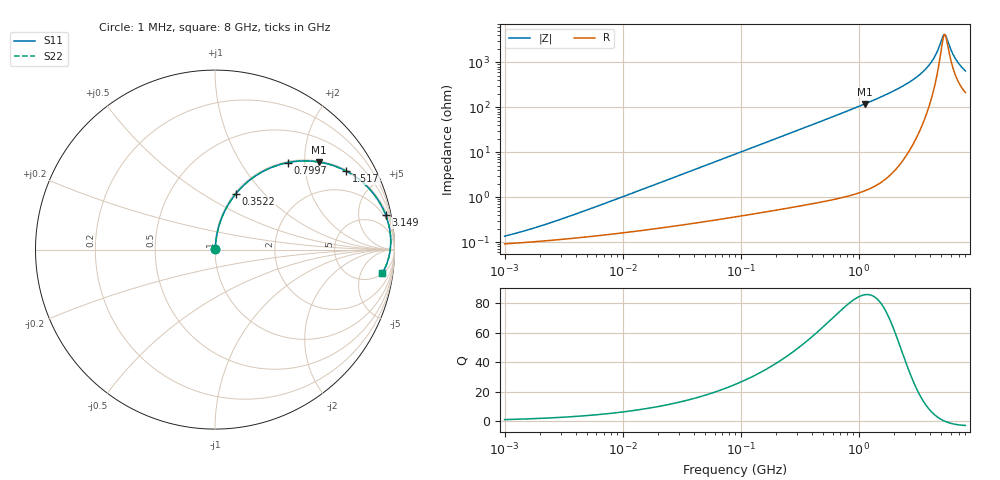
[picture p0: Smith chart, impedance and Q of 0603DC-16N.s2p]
# MHz  S  MA  R  50
!Freq  MagS11  AngS11  MagS21  AngS21  MagS12  AngS12  MagS22  AngS22
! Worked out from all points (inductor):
!   801 points, 1 MHz to 8 GHz, reference 50 ohm
!   read as one part in series: L = 16 nH near 3.599 MHz
!   highest Q = 85.6 at 1.12 GHz (marker M1), where L = 16.7 nH
!   self-resonance near 5.36 GHz
!   S11 on the Smith chart (normalised r, x): 1 MHz: 1.00, +0.00; 352.2 MHz: 1.01, +0.71; 799.7 MHz: 1.02, +1.65; 1.517 GHz: 1.04, +3.32; 3.149 GHz: 1.47, +9.70; 8 GHz: 5, -12
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1  0.001355 47.8  0.9991 -0.1  0.9991 -0.1  0.001355 47.8
4.505755  0.004698 74.1  0.9987 -0.3  0.9987 -0.3  0.004698 74.1
20.07503  0.02024 83.1  0.9978 -1.2  0.9978 -1.2  0.02024 83.1
90.45318  0.09033 82.5  0.9923 -5.2  0.9923 -5.2  0.09033 82.5
200.8275  0.1973 77.2  0.9754 -11.4  0.9754 -11.4  0.1973 77.2
352.1812  0.3331 69.5  0.9367 -19.5  0.9367 -19.5  0.3331 69.5
403.007  0.3751 67.0  0.9205 -22.0  0.9205 -22.0  0.3751 67.0
799.6928  0.6314 50.1  0.7675 -39.1  0.7675 -39.1  0.6314 50.1
1120.183  0.7581 40.0  0.6433 -49.3  0.6433 -49.3  0.7581 40.0
1517.114  0.8519 30.9  0.5132 -58.4  0.5132 -58.4  0.8519 30.9
1795.566  0.8927 26.0  0.4382 -63.2  0.4382 -63.2  0.8927 26.0
2459.288  0.9463 17.5  0.3012 -71.1  0.3012 -71.1  0.9463 17.5
3148.795  0.9702 11.5  0.1998 -75.7  0.1998 -75.7  0.9702 11.5
3685.093  0.9781 7.9  0.1387 -77.0  0.1387 -77.0  0.9781 7.9
4169.807  0.9806 5.2  0.09268 -75.3  0.09268 -75.3  0.9806 5.2
4561.912  0.9806 3.3  0.06085 -69.7  0.06085 -69.7  0.9806 3.3
5104.292  0.9782 1.0  0.02784 -37.8  0.02784 -37.8  0.9782 1.0
5279.248  0.9769 0.3  0.02366 -12.8  0.02366 -12.8  0.9769 0.3
5521.887  0.9749 -0.6  0.02717 22.5  0.02717 22.5  0.9749 -0.6
6178.402  0.9681 -2.9  0.05884 55.7  0.05884 55.7  0.9681 -2.9
6683.873  0.9617 -4.4  0.08523 61.1  0.08523 61.1  0.9617 -4.4
8000  0.9416 -8.0  0.1472 62.7  0.1472 62.7  0.9416 -8.0
